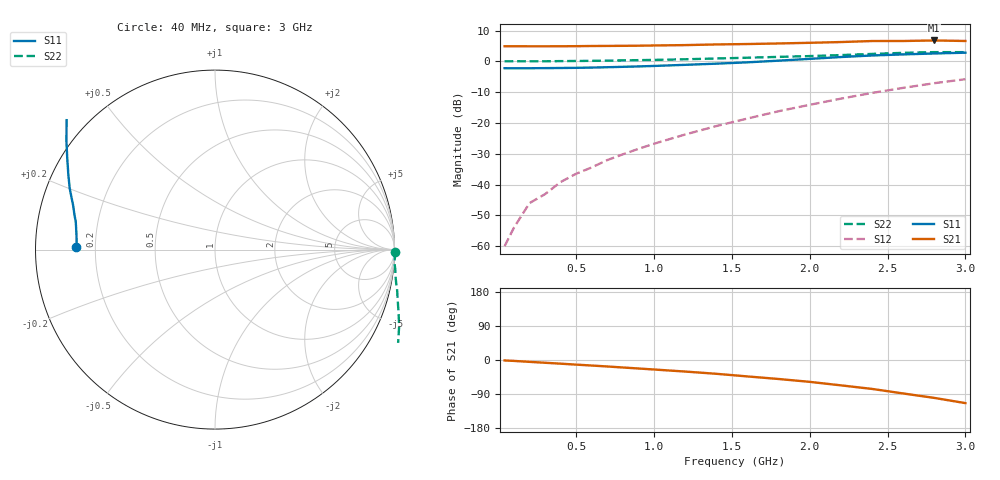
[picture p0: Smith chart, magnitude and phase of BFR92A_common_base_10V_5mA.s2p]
! Filename:  BFR92ACG.S2P  Version:  2.0
! Philips part #: BFR92A  Date: Jul 1990
! Bias condition: Vce=10V, Ic=5mA
! COMMON BASE
#  MHz  S  MA  R  50
! Freq  S11  S21  S12  S22
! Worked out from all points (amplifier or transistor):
!   21 points, 40 MHz to 3 GHz, reference 50 ohm
!   highest |S21| = 6.8 dB at 2.8 GHz (marker M1)
!   |S21| within 3 dB of that: start of sweep to end of sweep
!   unconditionally stable (mu >= 1): nowhere
!   at 300 MHz: K = -0.40, MSG = 24.0 dB, |S12| = -43.1 dB
!   at 1 GHz: K = -0.90, MSG = 15.9 dB, |S12| = -26.7 dB
!   at 3 GHz: K = -0.77, MSG = 6.2 dB, |S12| = -5.8 dB
40  0.774 178.9  1.76 -1.2  0.001 61.3  1.002 -0.7
100  0.772 177.9  1.758 -2.4  0.002 86.3  1.004 -1.3
200  0.773 176.0  1.755 -4.9  0.005 103.5  1.003 -3.0
300  0.776 174.1  1.754 -7.3  0.007 110.5  1.003 -4.4
400  0.78 172.3  1.758 -9.7  0.011 119.0  1.009 -5.9
500  0.785 170.5  1.763 -12.2  0.015 122.6  1.014 -7.4
600  0.792 168.5  1.774 -14.6  0.019 127.7  1.019 -8.9
700  0.803 166.7  1.78 -17.1  0.025 131.0  1.026 -10.4
800  0.815 164.7  1.786 -19.8  0.031 133.7  1.036 -11.9
900  0.827 162.8  1.794 -22.4  0.038 135.7  1.046 -13.7
1000  0.842 161.0  1.81 -25.1  0.046 138.0  1.055 -15.3
1200  0.878 157.2  1.835 -30.5  0.065 140.0  1.081 -18.9
1400  0.917 153.0  1.881 -36.4  0.089 140.2  1.112 -22.7
1600  0.964 148.6  1.91 -43.4  0.118 140.0  1.145 -27.0
1800  1.026 143.8  1.951 -50.1  0.155 138.3  1.181 -31.9
2000  1.097 138.9  2 -57.7  0.197 135.8  1.217 -37.8
2200  1.175 133.6  2.057 -66.9  0.248 132.6  1.263 -44.7
2400  1.245 127.8  2.137 -76.3  0.307 128.1  1.32 -52.5
2600  1.296 120.5  2.139 -88.3  0.371 123.2  1.374 -60.7
2800  1.342 111.5  2.183 -100.0  0.442 116.5  1.411 -69.2
3000  1.382 101.9  2.14 -113.8  0.513 109.8  1.41 -78.7
